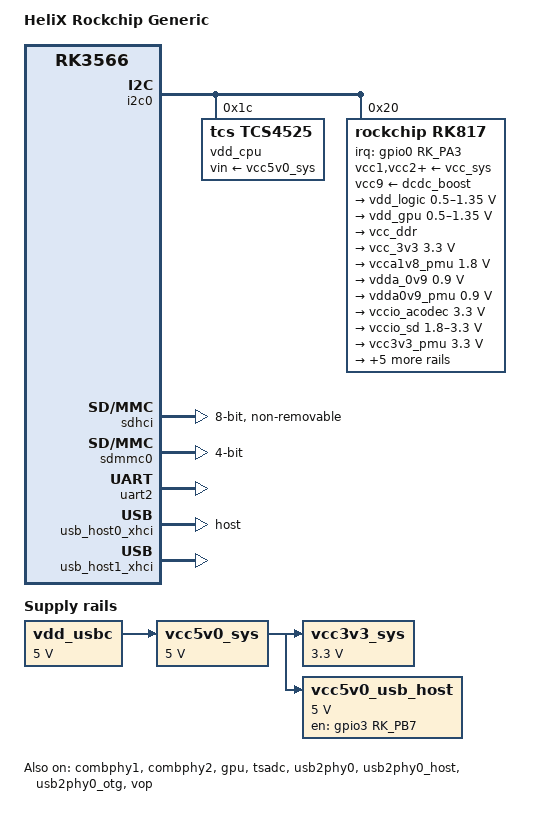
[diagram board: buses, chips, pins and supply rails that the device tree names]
// SPDX-License-Identifier: GPL-2.0-or-later OR MIT
/*
 * Copyright (c) 2025 Serhii Serhieiev <adron@ngnp.net>
 */

/dts-v1/;
#include <dt-bindings/gpio/gpio.h>
#include <dt-bindings/input/input.h>
#include <dt-bindings/leds/common.h>
#include <dt-bindings/pinctrl/rockchip.h>
#include <dt-bindings/soc/rockchip,vop2.h>
#include "rk3566.dtsi"

/ {
	model = "HeliX Rockchip Generic";
	compatible = "helix,rockchip-generic", "rockchip,rk3566";

	aliases {
		mmc0 = &sdmmc0;
		mmc1 = &sdhci;
	};

	chosen: chosen {
		stdout-path = "serial2:1500000n8";
	};

	vdd_usbc: vdd-usbc-regulator {
		compatible = "regulator-fixed";
		regulator-name = "vdd_usbc";
		regulator-always-on;
		regulator-boot-on;
		regulator-min-microvolt = <5000000>;
		regulator-max-microvolt = <5000000>;
	};

	vcc3v3_sys: regulator-vcc3v3-sys {
		compatible = "regulator-fixed";
		regulator-name = "vcc3v3_sys";
		regulator-always-on;
		regulator-boot-on;
		regulator-min-microvolt = <3300000>;
		regulator-max-microvolt = <3300000>;
		vin-supply = <&vcc5v0_sys>;
	};

	vcc5v0_sys: regulator-vcc5v0-sys {
		compatible = "regulator-fixed";
		regulator-name = "vcc5v0_sys";
		regulator-always-on;
		regulator-boot-on;
		regulator-min-microvolt = <5000000>;
		regulator-max-microvolt = <5000000>;
		vin-supply = <&vdd_usbc>;
	};

	vcc5v0_usb_host: regulator-vcc5v0-usb2-host {
		compatible = "regulator-fixed";
		enable-active-high;
		gpio = <&gpio3 RK_PB7 GPIO_ACTIVE_HIGH>;
		pinctrl-names = "default";
		pinctrl-0 = <&vcc5v0_usb_host_en>;
		regulator-name = "vcc5v0_usb2_host";
		regulator-always-on;
		regulator-boot-on;
		regulator-min-microvolt = <5000000>;
		regulator-max-microvolt = <5000000>;
		vin-supply = <&vcc5v0_sys>;
	};

};

&combphy1 {
	status = "okay";
};

&combphy2 {
	status = "okay";
};

&cpu0 {
	cpu-supply = <&vdd_cpu>;
};

&cpu1 {
	cpu-supply = <&vdd_cpu>;
};

&cpu2 {
	cpu-supply = <&vdd_cpu>;
};

&cpu3 {
	cpu-supply = <&vdd_cpu>;
};

&gpu {
	mali-supply = <&vdd_gpu>;
	status = "okay";
};

&i2c0 {
	status = "okay";

	vdd_cpu: regulator@1c {
		compatible = "tcs,tcs4525";
		reg = <0x1c>;
		fcs,suspend-voltage-selector = <1>;
		regulator-name = "vdd_cpu";
		regulator-always-on;
		regulator-boot-on;
		regulator-min-microvolt = <712500>;
		regulator-max-microvolt = <1390000>;
		regulator-ramp-delay = <2300>;
		vin-supply = <&vcc5v0_sys>;

		regulator-state-mem {
			regulator-off-in-suspend;
		};
	};

	rk817: pmic@20 {
		compatible = "rockchip,rk817";
		reg = <0x20>;
		interrupt-parent = <&gpio0>;
		interrupts = <RK_PA3 IRQ_TYPE_LEVEL_LOW>;
		assigned-clocks = <&cru I2S1_MCLKOUT_TX>;
		assigned-clock-parents = <&cru CLK_I2S1_8CH_TX>;
		clock-names = "mclk";
		clocks = <&cru I2S1_MCLKOUT_TX>;
		clock-output-names = "rk808-clkout1", "rk808-clkout2";
		#clock-cells = <1>;
		pinctrl-names = "default";
		pinctrl-0 = <&pmic_int>, <&i2s1m0_mclk>;
		/* pinctrl-1 = <&soc_slppin_slp &rk817_slppin_slp>; */
		/* pinctrl-2 = <&soc_slppin_gpio &rk817_slppin_pwrdn>; */
		/* pinctrl-3 = <&soc_slppin_gpio &rk817_slppin_rst>; */
		rockchip,system-power-controller;
		#sound-dai-cells = <0>;
		wakeup-source;

		vcc1-supply = <&vcc_sys>;
		vcc2-supply = <&vcc_sys>;
		vcc3-supply = <&vcc_sys>;
		vcc4-supply = <&vcc_sys>;
		vcc5-supply = <&vcc_sys>;
		vcc6-supply = <&vcc_sys>;
		vcc7-supply = <&vcc_sys>;
		vcc8-supply = <&vcc_sys>;
		vcc9-supply = <&dcdc_boost>;

		regulators {
			vdd_logic: DCDC_REG1 {
				regulator-always-on;
				regulator-boot-on;
				regulator-min-microvolt = <500000>;
				regulator-max-microvolt = <1350000>;
				regulator-ramp-delay = <6001>;
				regulator-initial-mode = <0x2>;
				regulator-name = "vdd_logic";
				regulator-state-mem {
					regulator-on-in-suspend;
					regulator-suspend-microvolt = <900000>;
				};
			};

			vdd_gpu: DCDC_REG2 {
				regulator-always-on;
				regulator-boot-on;
				regulator-min-microvolt = <500000>;
				regulator-max-microvolt = <1350000>;
				regulator-ramp-delay = <6001>;
				regulator-initial-mode = <0x2>;
				regulator-name = "vdd_gpu";
					regulator-state-mem {
					regulator-off-in-suspend;
				};
			};

			vcc_ddr: DCDC_REG3 {
				regulator-always-on;
				regulator-boot-on;
				regulator-initial-mode = <0x2>;
				regulator-name = "vcc_ddr";
				regulator-state-mem {
					regulator-on-in-suspend;
				};
			};

			vcc_3v3: DCDC_REG4 {
				regulator-always-on;
				regulator-boot-on;
				regulator-min-microvolt = <3300000>;
				regulator-max-microvolt = <3300000>;
				regulator-initial-mode = <0x2>;
				regulator-name = "vcc_3v3";
				regulator-state-mem {
					regulator-off-in-suspend;
				};
			};

			vcca1v8_pmu: LDO_REG1 {
				regulator-always-on;
				regulator-boot-on;
				regulator-min-microvolt = <1800000>;
				regulator-max-microvolt = <1800000>;
				regulator-name = "vcca1v8_pmu";
				regulator-state-mem {
					regulator-on-in-suspend;
					regulator-suspend-microvolt = <1800000>;
				};
			};

			vdda_0v9: LDO_REG2 {
				regulator-always-on;
				regulator-boot-on;
				regulator-min-microvolt = <900000>;
				regulator-max-microvolt = <900000>;
				regulator-name = "vdda_0v9";
				regulator-state-mem {
					regulator-off-in-suspend;
				};
			};

			vdda0v9_pmu: LDO_REG3 {
				regulator-always-on;
				regulator-boot-on;
				regulator-min-microvolt = <900000>;
				regulator-max-microvolt = <900000>;
				regulator-name = "vdda0v9_pmu";
				regulator-state-mem {
					regulator-on-in-suspend;
					regulator-suspend-microvolt = <900000>;
				};
			};

			vccio_acodec: LDO_REG4 {
				regulator-always-on;
				regulator-boot-on;
				regulator-min-microvolt = <3300000>;
				regulator-max-microvolt = <3300000>;
				regulator-name = "vccio_acodec";
				regulator-state-mem {
					regulator-off-in-suspend;
				};
			};

			vccio_sd: LDO_REG5 {
				regulator-always-on;
				regulator-boot-on;
				regulator-min-microvolt = <1800000>;
				regulator-max-microvolt = <3300000>;
				regulator-name = "vccio_sd";
				regulator-state-mem {
					regulator-off-in-suspend;
				};
			};

			vcc3v3_pmu: LDO_REG6 {
				regulator-always-on;
				regulator-boot-on;
				regulator-min-microvolt = <3300000>;
				regulator-max-microvolt = <3300000>;
				regulator-name = "vcc3v3_pmu";
				regulator-state-mem {
					regulator-on-in-suspend;
					regulator-suspend-microvolt = <3300000>;
				};
			};

			vcc_1v8: LDO_REG7 {
				regulator-always-on;
				regulator-boot-on;
				regulator-min-microvolt = <1800000>;
				regulator-max-microvolt = <1800000>;
				regulator-name = "vcc_1v8";
				regulator-state-mem {
					regulator-off-in-suspend;
				};
			};

			vcc1v8_dvp: LDO_REG8 {
				regulator-always-on;
				regulator-boot-on;
				regulator-min-microvolt = <1800000>;
				regulator-max-microvolt = <1800000>;
				regulator-name = "vcc1v8_dvp";
				regulator-state-mem {
					regulator-off-in-suspend;
				};
			};

			vcc2v8_dvp: LDO_REG9 {
				regulator-always-on;
				regulator-boot-on;
				regulator-min-microvolt = <2800000>;
				regulator-max-microvolt = <2800000>;
				regulator-name = "vcc2v8_dvp";
				regulator-state-mem {
					regulator-off-in-suspend;
				};
			};

			dcdc_boost: BOOST {
				regulator-always-on;
				regulator-boot-on;
				regulator-min-microvolt = <5000000>;
				regulator-max-microvolt = <5000000>;
				regulator-name = "boost";
				regulator-state-mem {
					regulator-off-in-suspend;
				};
			};

			otg_switch: OTG_SWITCH {
				regulator-name = "otg_switch";
				regulator-state-mem {
					regulator-off-in-suspend;
				};
			};
		};
	};

};


&pinctrl {
	pmic {
		pmic_int: pmic-int {
			rockchip,pins = <0 RK_PA3 RK_FUNC_GPIO &pcfg_pull_up>;
		};

		soc_slppin_gpio: soc-slppin-gpio {
			rockchip,pins = <0 RK_PA2 RK_FUNC_GPIO &pcfg_output_low>;
		};

		soc_slppin_slp: soc-slppin-slp {
			rockchip,pins = <0 RK_PA2 RK_FUNC_1 &pcfg_pull_none>;
		};

		soc_slppin_rst: soc-slppin-rst {
			rockchip,pins = <0 RK_PA2 RK_FUNC_2 &pcfg_pull_none>;
		};
	};

	usb {
		vcc5v0_usb_host_en: vcc5v0-usb-host-en {
			rockchip,pins = <3 RK_PB7 RK_FUNC_GPIO &pcfg_pull_none>;
		};

	};
};

&sdhci {
	bus-width = <8>;
	max-frequency = <200000000>;
	mmc-hs200-1_8v;
	non-removable;
	pinctrl-names = "default";
	pinctrl-0 = <&emmc_bus8 &emmc_clk &emmc_cmd &emmc_datastrobe>;
	status = "okay";
};

&sdmmc0 {
	bus-width = <4>;
	cap-mmc-highspeed;
	cap-sd-highspeed;
	disable-wp;
	no-sdio;
	no-mmc;
	pinctrl-names = "default";
	pinctrl-0 = <&sdmmc0_bus4 &sdmmc0_clk &sdmmc0_cmd &sdmmc0_det>;
	sd-uhs-sdr50;
	status = "okay";
};

&tsadc {
	status = "okay";
};

&uart2 {
	status = "okay";
};

&usb2phy0 {
	status = "okay";
};

&usb2phy0_host {
	phy-supply = <&vcc5v0_usb_host>;
	status = "okay";
};

&usb2phy0_otg {
	status = "okay";
};

&usb_host0_xhci {
	dr_mode = "host";
	extcon = <&usb2phy0>;
	status = "okay";
};

&usb_host1_xhci {
	status = "okay";
};

&vop {
	assigned-clocks = <&cru DCLK_VOP0>, <&cru DCLK_VOP1>;
	assigned-clock-parents = <&pmucru PLL_HPLL>, <&cru PLL_VPLL>;
	status = "okay";
};

&vop_mmu {
	status = "okay";
};
